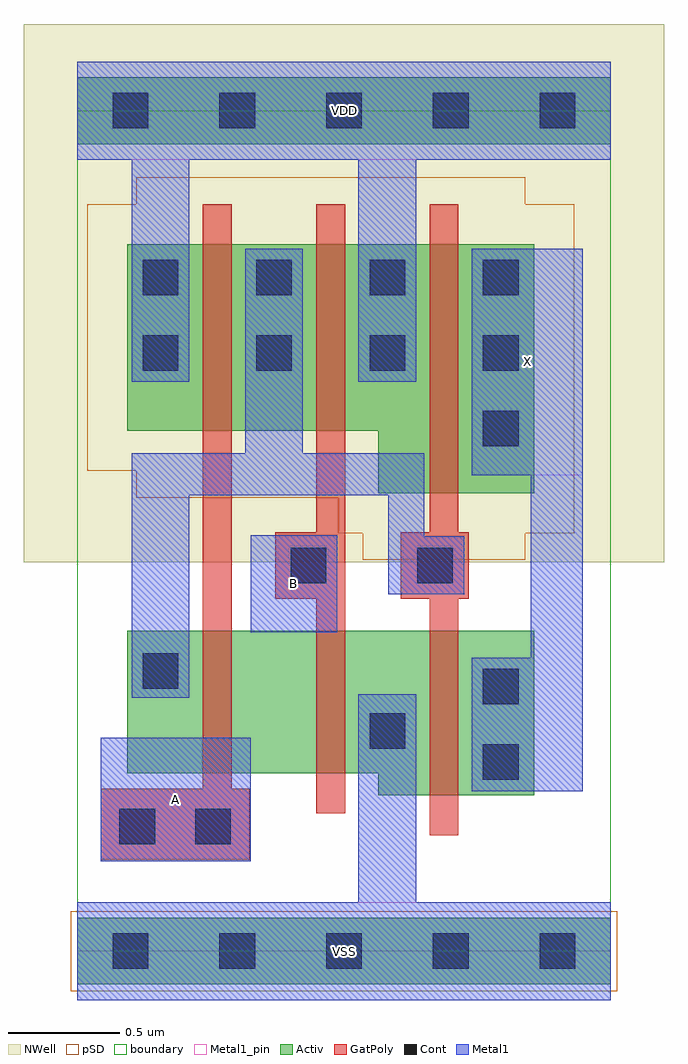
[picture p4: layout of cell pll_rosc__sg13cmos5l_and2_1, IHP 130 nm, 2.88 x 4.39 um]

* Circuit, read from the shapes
.subckt pll_rosc__sg13cmos5l_and2_1 A B VDD VSS X
XM1 n1 A n2 VSS sg13_lv_nmos w=0.64u l=0.13u
XM2 VSS B n1 VSS sg13_lv_nmos w=0.64u l=0.13u
XM3 X n2 VSS VSS sg13_lv_nmos w=0.74u l=0.13u
XM4 n2 A VDD VDD sg13_lv_pmos w=0.84u l=0.13u
XM5 VDD B n2 VDD sg13_lv_pmos w=0.84u l=0.13u
XM6 X n2 VDD VDD sg13_lv_pmos w=1.12u l=0.13u
.ends

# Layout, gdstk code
import gdstk
lib = gdstk.Library(unit=1e-6, precision=1e-09)
def R(c, l, rs):  # rectangles x0, y0, x1, y1
    for r in rs: c.add(gdstk.rectangle(r[:2], r[2:], *l))
def A(c, l, x, y, w, h, nx, ny, dx, dy):  # array of equal rectangles
    R(c, l, [(x+i*dx, y+j*dy, x+i*dx+w, y+j*dy+h) for i in range(nx) for j in range(ny)])
Activ = (1, 0)
GatPoly = (5, 0)
Cont = (6, 0)
Metal1 = (8, 0)
Metal1_pin = (8, 2)
pSD = (14, 0)
NWell = (31, 0)
boundary = (189, 4)

pll_rosc__sg13cmos5l_and = lib.new_cell('pll_rosc__sg13cmos5l_and2_1')
R(pll_rosc__sg13cmos5l_and, Activ, [(0,-0.15,2.4,0.15), (1.355,0.7,2.055,0.8), (0.225,0.8,2.055,1.44), (1.355,2.06,2.055,2.34), (0.225,2.34,2.055,3.18), (0,3.63,2.4,3.93)])
R(pll_rosc__sg13cmos5l_and, GatPoly, [(0.105,0.41,0.775,0.73), (1.585,0.52,1.715,1.585), (1.075,0.62,1.205,1.585), (0.565,0.73,0.695,3.36), (0.89,1.585,1.205,1.885), (1.455,1.585,1.76,1.885), (1.075,1.885,1.205,3.36), (1.585,1.885,1.715,3.36)])
A(pll_rosc__sg13cmos5l_and, Cont, 0.16, -0.08, 0.16, 0.16, 5, 2, 0.48, 3.78)
A(pll_rosc__sg13cmos5l_and, Cont, 0.295, 2.61, 0.16, 0.16, 4, 2, 0.51, 0.34)
R(pll_rosc__sg13cmos5l_and, Cont, [(0.19,0.48,0.35,0.64), (0.53,0.48,0.69,0.64), (1.825,0.77,1.985,0.93), (1.315,0.91,1.475,1.07), (1.825,1.11,1.985,1.27), (0.295,1.18,0.455,1.34), (0.96,1.655,1.12,1.815), (1.53,1.655,1.69,1.815), (1.825,2.27,1.985,2.43)])
R(pll_rosc__sg13cmos5l_and, Metal1, [(0,-0.22,2.4,0.22), (1.265,0.22,1.525,1.155), (0.105,0.405,0.78,0.96), (1.775,0.72,2.275,1.32), (0.245,1.14,0.505,2.05), (2.04,1.32,2.275,2.14), (0.78,1.435,1.17,1.87), (1.4,1.605,1.74,1.865), (1.4,1.865,1.56,2.05), (0.245,2.05,1.56,2.24), (1.775,2.14,2.275,3.16), (0.755,2.24,1.015,3.16), (0.245,2.56,0.505,3.56), (1.265,2.56,1.525,3.56), (0,3.56,2.4,4)])
R(pll_rosc__sg13cmos5l_and, Metal1_pin, [(0,-0.22,2.4,0.22), (0.105,0.405,0.78,0.96), (0.78,1.435,1.17,1.87), (1.775,2.14,2.275,3.16), (0,3.56,2.4,4)])
R(pll_rosc__sg13cmos5l_and, pSD, [(-0.03,-0.18,2.43,0.18), (1.285,1.76,2.015,1.88), (1.175,1.88,2.235,2.04), (0.265,2.04,2.235,2.16), (0.045,2.16,2.235,3.36), (0.265,3.36,2.015,3.48)])
R(pll_rosc__sg13cmos5l_and, NWell, [(-0.24,1.75,2.64,4.17)])
R(pll_rosc__sg13cmos5l_and, boundary, [(0,0,2.4,3.78)])
pll_rosc__sg13cmos5l_and.add(gdstk.Label('X', (2.025,2.65), layer=8, texttype=25))
pll_rosc__sg13cmos5l_and.add(gdstk.Label('VSS', (1.2,0), layer=8, texttype=25))
pll_rosc__sg13cmos5l_and.add(gdstk.Label('VDD', (1.2,3.78), layer=8, texttype=25))
pll_rosc__sg13cmos5l_and.add(gdstk.Label('B', (0.975,1.652), layer=8, texttype=25))
pll_rosc__sg13cmos5l_and.add(gdstk.Label('A', (0.442,0.682), layer=8, texttype=25))

lib.write_gds('pll_rosc__sg13cmos5l_and2_1.gds')
